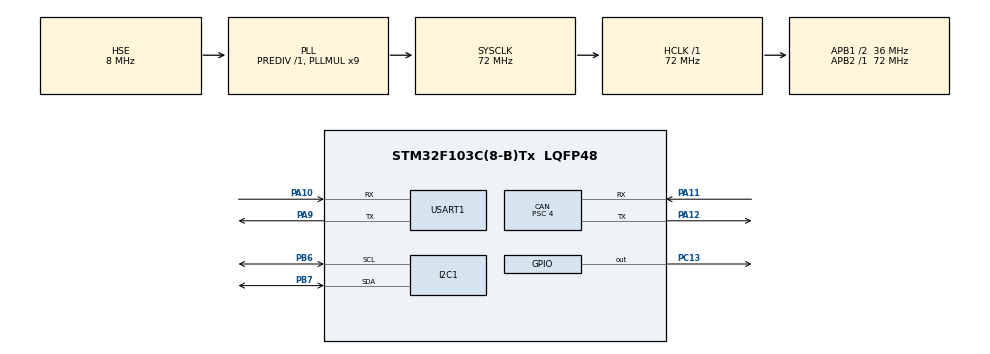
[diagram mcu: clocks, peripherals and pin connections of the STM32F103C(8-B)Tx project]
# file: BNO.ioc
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CAN.BS1=CAN_BS1_15TQ
CAN.BS2=CAN_BS2_2TQ
CAN.CalculateBaudRate=500000
CAN.CalculateTimeBit=2000
CAN.CalculateTimeQuantum=111.11111111111111
CAN.Prescaler=4
FREERTOS.Tasks01=mReadBNO,24,512,ReadBNO,Default,NULL,Dynamic,NULL,NULL;mySend_CAN,8,512,Send_CAN,Default,NULL,Dynamic,NULL,NULL
Mcu.Family=STM32F1
Mcu.Name=STM32F103C(8-B)Tx
Mcu.Package=LQFP48
NVIC.PriorityGroup=NVIC_PRIORITYGROUP_4
NVIC.TIM3_IRQn=true\:15\:0\:false\:false\:true\:false\:false\:true\:true
NVIC.TimeBase=TIM3_IRQn
NVIC.TimeBaseIP=TIM3
NVIC.USB_HP_CAN1_TX_IRQn=true\:5\:0\:true\:false\:true\:true\:true\:true\:true
NVIC.USB_LP_CAN1_RX0_IRQn=true\:5\:0\:false\:false\:true\:true\:true\:true\:true
PA10.Mode=Asynchronous
PA10.Signal=USART1_RX
PA11.Mode=CAN_Activate
PA11.Signal=CAN_RX
PA12.Mode=CAN_Activate
PA12.Signal=CAN_TX
PA13.Mode=Serial_Wire
PA13.Signal=SYS_JTMS-SWDIO
PA14.Mode=Serial_Wire
PA14.Signal=SYS_JTCK-SWCLK
PA9.Mode=Asynchronous
PA9.Signal=USART1_TX
PB6.Mode=I2C
PB6.Signal=I2C1_SCL
PB7.Mode=I2C
PB7.Signal=I2C1_SDA
PC13-TAMPER-RTC.Signal=GPIO_Output
PD0-OSC_IN.Mode=HSE-External-Oscillator
PD0-OSC_IN.Signal=RCC_OSC_IN
PD1-OSC_OUT.Mode=HSE-External-Oscillator
PD1-OSC_OUT.Signal=RCC_OSC_OUT
ProjectManager.HeapSize=0x200
ProjectManager.StackSize=0x400
ProjectManager.TargetToolchain=STM32CubeIDE
RCC.AHBFreq_Value=72000000
RCC.APB1CLKDivider=RCC_HCLK_DIV2
RCC.APB1Freq_Value=36000000
RCC.APB1TimFreq_Value=72000000
RCC.APB2Freq_Value=72000000
RCC.APB2TimFreq_Value=72000000
RCC.HCLKFreq_Value=72000000
RCC.PLLMUL=RCC_PLL_MUL9
RCC.PLLSourceVirtual=RCC_PLLSOURCE_HSE
RCC.SYSCLKFreq_VALUE=72000000
RCC.SYSCLKSource=RCC_SYSCLKSOURCE_PLLCLK
RCC.USBFreq_Value=72000000
USART1.VirtualMode=VM_ASYNC
VP_FREERTOS_VS_CMSIS_V2.Mode=CMSIS_V2
VP_SYS_VS_tim3.Mode=TIM3
board=custom

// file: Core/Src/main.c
/* USER CODE BEGIN Header */
/**
 ******************************************************************************
 * @file           : main.c
 * @brief          : Main program body
 ******************************************************************************
 * @attention
 *
 * Copyright (c) 2023 STMicroelectronics.
 * All rights reserved.
 *
 * This software is licensed under terms that can be found in the LICENSE file
 * in the root directory of this software component.
 * If no LICENSE file comes with this software, it is provided AS-IS.
 *
 ******************************************************************************
 */
/* USER CODE END Header */
#include "main.h"
#include "cmsis_os.h"
#include "can.h"
#include "i2c.h"
#include "usart.h"
#include "gpio.h"

/* USER CODE BEGIN Includes */
//#include "bno055.h"
//#include "bno_config.h"
#include <stdio.h>
#include "CAN_Handle.h"
//#include "ssd1306.h"
//#include "fonts.h"
//#include "test.h"
//#include "Calib.h"
//#include "LKF.h"
/* USER CODE END Includes */

/* USER CODE BEGIN PV */
//bno055_t bno;
//error_bno err;
//EulerCalib Eulcalib;
//AccCalib AcceCalib;
//LKF KF;
/* USER CODE END PV */

void SystemClock_Config(void);
void MX_FREERTOS_Init(void);

int main(void)
{

  /* MCU Configuration--------------------------------------------------------*/

  /* Reset of all peripherals, Initializes the Flash interface and the Systick. */
  HAL_Init();

  /* Configure the system clock */
  SystemClock_Config();

  /* Initialize all configured peripherals */
  MX_GPIO_Init();
  MX_I2C1_Init();
  MX_USART1_UART_Init();
  MX_CAN_Init();
  /* USER CODE BEGIN 2 */
  CAN_Config_filtering();
  if(HAL_CAN_ActivateNotification(&hcan, CAN_IT_TX_MAILBOX_EMPTY|CAN_IT_RX_FIFO0_MSG_PENDING)!=HAL_OK){
  	 printf("Start CAN IT Error");
   }
    if(HAL_CAN_Start(&hcan)!=HAL_OK){
  	 printf("Start CAN Error");
   }
	//SSD1306_Init();
//	bno = (bno055_t ) { .i2c = &hi2c1, .addr = BNO_ADDR, .mode = BNO_MODE_IMU,
//					._temp_unit = 0,
//			// .ptr = &bno,
//			};
//	HAL_Delay(1000);
//	if ((err = bno055_init(&bno)) == BNO_OK) {
//		printf("[+] BNO055 init success\r\n");
//		HAL_Delay(100);
//	} else {
//		printf("[!] BNO055 init failed\r\n");
//		printf("%s\n", bno055_err_str(err));
//		Error_Handler();
//	}
//	HAL_Delay(100);
//	err = bno055_set_unit(&bno, BNO_TEMP_UNIT_C, BNO_GYR_UNIT_DPS,
//			BNO_ACC_UNITSEL_M_S2, BNO_EUL_UNIT_DEG);
//	if (err != BNO_OK) {
//		printf("[BNO] Failed to set units. Err: %d\r\n", err);
//	} else {
//		printf("[BNO] Unit selection success\r\n");
//	}
//
//	HAL_Delay(1000);
	// f32 acc_x = 0.0f, acc_y = 0.0f, acc_z = 0.0f;
//	bno055_vec3_t acc = { 0, 0, 0 };
//	bno055_vec3_t lia = { 0, 0, 0 };
//	bno055_vec3_t gyr = { 0, 0, 0 };
//	bno055_vec3_t mag = { 0, 0, 0 };
//	bno055_vec3_t grv = { 0, 0, 0 };
//	bno055_euler_t eul = { 0, 0, 0 };
//	bno055_vec4_t qua = { 0, 0, 0 };
  /* USER CODE END 2 */

  /* Init scheduler */
  osKernelInitialize();

  /* Call init function for freertos objects (in freertos.c) */
  MX_FREERTOS_Init();

  /* Start scheduler */
  osKernelStart();

  /* We should never get here as control is now taken by the scheduler */
  /* Infinite loop */
  /* USER CODE BEGIN WHILE */
//Euler_Calibration(&bno, &eul, &Eulcalib);
//ACC_Calibration(&bno, &acc, &AcceCalib);
	while (1) {
    /* USER CODE END WHILE */

    /* USER CODE BEGIN 3 */
//			bno.temperature(&bno, &temperature);
//			bno.acc(&bno, &acc);
//			bno.linear_acc(&bno, &lia);
//			bno.mag(&bno, &mag);
//			bno.gyro(&bno, &gyr);
//			bno.gravity(&bno, &grv);
//			bno.quaternion(&bno, &qua);
//		        printf("[+] Temperature: %2d°C\r\n", temperature);
//		ACC_getData(&acc, &bno, &AcceCalib);
//		Euler_getData(&eul, &bno, &Eulcalib);
//		printf("Y %+2.2f\r\n",eul.yaw);
//		        printf("[+] LIA - x: %+2.2f | y: %+2.2f | z: %+2.2f\r\n", lia.x, lia.y,
//		               lia.z);
//		        printf("[+] GYR - x: %+2.2f | y: %+2.2f | z: %+2.2f\r\n", gyr.x, gyr.y,
//		               gyr.z);
//		        printf("[+] MAG - x: %+2.2f | y: %+2.2f | z: %+2.2f\r\n", mag.x, mag.y,
//		               mag.z);
//		        printf("[+] GRV - x: %+2.2f | y: %+2.2f | z: %+2.2f\r\n", grv.x, grv.y,
//		               grv.z);
//				Euler_getData(&eul, &bno, &Eulcalib);
//		        printf("[+] Roll: %+2.2f | Pitch: %+2.2f | Yaw: %+2.2f\r\n", eul.roll,
//		        		eul.pitch,eul.yaw);
//		        printf("[+] QUA - w: %+2.2f | x: %+2.2f | y: %+2.2f | z: %+2.2f\r\n",
//		               qua.w, qua.x, qua.y, qua.z);
//		snprintf(buffer, sizeof(buffer), "%s%2d°C", "Temperature:", temperature);
//		 printf("[+] Temperature: %2d°C\r\n", temperature);
//		        printf("[+] ACC - x: %+2.2f | y: %+2.2f | z: %+2.2f\r\n", acc.x, acc.y,
//		               acc.z);
//		        printf("[+] LIA - x: %+2.2f | y: %+2.2f | z: %+2.2f\r\n", lia.x, lia.y,
//		               lia.z);
//		        printf("[+] GYR - x: %+2.2f | y: %+2.2f | z: %+2.2f\r\n", gyr.x, gyr.y,
//		               gyr.z);
//		        printf("[+] MAG - x: %+2.2f | y: %+2.2f | z: %+2.2f\r\n", mag.x, mag.y,
//		               mag.z);
//		        printf("[+] GRV - x: %+2.2f | y: %+2.2f | z: %+2.2f\r\n", grv.x, grv.y,
//		               grv.z);
//		        printf("[+] QUA - w: %+2.2f | x: %+2.2f | y: %+2.2f | z: %+2.2f\r\n",
//		               qua.w, qua.x, qua.y, qua.z);
//		SSD1306_GotoXY(5, 40);
//		SSD1306_Puts(buffer, &Font_7x10, 1);
//		printf("[+] ACC - x: %+2.2f | y: %+2.2f | z: %+2.2f\r\n", acc.x, acc.y,
//				acc.z);
//		printf("[+] LIA - x: %+2.2f | y: %+2.2f | z: %+2.2f\r\n", lia.x, lia.y,
//				lia.z);
//		printf("[+] GYR - x: %+2.2f | y: %+2.2f | z: %+2.2f\r\n", gyr.x, gyr.y,
//				gyr.z);
//		printf("[+] MAG - x: %+2.2f | y: %+2.2f | z: %+2.2f\r\n", mag.x, mag.y,
//				mag.z);
//		printf("[+] GRV - x: %+2.2f | y: %+2.2f | z: %+2.2f\r\n", grv.x, grv.y,
//				grv.z);
//		snprintf(buffer, sizeof(buffer), "%s%+2.2f", "R ", eul.roll);
//		SSD1306_GotoXY(5, 4);
//		SSD1306_Puts(buffer, &Font_7x10, 1);
//		snprintf(buffer, sizeof(buffer), "%s%+2.2f", "Y ", eul.yaw);
//		SSD1306_GotoXY(5, 16);
//		SSD1306_Puts(buffer, &Font_7x10, 1);
//		snprintf(buffer, sizeof(buffer), "%s%+2.2f", "Pitch:", eul.pitch);
//		SSD1306_GotoXY(5, 26);
//		SSD1306_Puts(buffer, &Font_7x10, 1);
//		SSD1306_UpdateScreen(); // update screen
//		printf("[+] QUA - w: %+2.2f | x: %+2.2f | y: %+2.2f | z: %+2.2f\r\n",
//				qua.w, qua.x, qua.y, qua.z);
//		HAL_GPIO_TogglePin(GPIOC, GPIO_PIN_13);
//		HAL_Delay(100);
	}
  /* USER CODE END 3 */
}

void SystemClock_Config(void)
{
  RCC_OscInitTypeDef RCC_OscInitStruct = {0};
  RCC_ClkInitTypeDef RCC_ClkInitStruct = {0};

  /** Initializes the RCC Oscillators according to the specified parameters
  * in the RCC_OscInitTypeDef structure.
  */
  RCC_OscInitStruct.OscillatorType = RCC_OSCILLATORTYPE_HSE;
  RCC_OscInitStruct.HSEState = RCC_HSE_ON;
  RCC_OscInitStruct.HSEPredivValue = RCC_HSE_PREDIV_DIV1;
  RCC_OscInitStruct.HSIState = RCC_HSI_ON;
  RCC_OscInitStruct.PLL.PLLState = RCC_PLL_ON;
  RCC_OscInitStruct.PLL.PLLSource = RCC_PLLSOURCE_HSE;
  RCC_OscInitStruct.PLL.PLLMUL = RCC_PLL_MUL9;
  if (HAL_RCC_OscConfig(&RCC_OscInitStruct) != HAL_OK)
  {
    Error_Handler();
  }

  /** Initializes the CPU, AHB and APB buses clocks
  */
  RCC_ClkInitStruct.ClockType = RCC_CLOCKTYPE_HCLK|RCC_CLOCKTYPE_SYSCLK
                              |RCC_CLOCKTYPE_PCLK1|RCC_CLOCKTYPE_PCLK2;
  RCC_ClkInitStruct.SYSCLKSource = RCC_SYSCLKSOURCE_PLLCLK;
  RCC_ClkInitStruct.AHBCLKDivider = RCC_SYSCLK_DIV1;
  RCC_ClkInitStruct.APB1CLKDivider = RCC_HCLK_DIV2;
  RCC_ClkInitStruct.APB2CLKDivider = RCC_HCLK_DIV1;

  if (HAL_RCC_ClockConfig(&RCC_ClkInitStruct, FLASH_LATENCY_2) != HAL_OK)
  {
    Error_Handler();
  }
}

void HAL_TIM_PeriodElapsedCallback(TIM_HandleTypeDef *htim)
{
  if (htim->Instance == TIM3) {
    HAL_IncTick();
  }
}

void Error_Handler(void)
{
	__disable_irq();
	while (1) {
	}
}

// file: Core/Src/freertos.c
/* USER CODE BEGIN Header */
/**
  ******************************************************************************
  * File Name          : freertos.c
  * Description        : Code for freertos applications
  ******************************************************************************
  * @attention
  *
  * Copyright (c) 2023 STMicroelectronics.
  * All rights reserved.
  *
  * This software is licensed under terms that can be found in the LICENSE file
  * in the root directory of this software component.
  * If no LICENSE file comes with this software, it is provided AS-IS.
  *
  ******************************************************************************
  */
/* USER CODE END Header */

#include "FreeRTOS.h"
#include "task.h"
#include "main.h"
#include "cmsis_os.h"

/* USER CODE BEGIN Includes */
#include "bno055.h"
#include "bno_config.h"
#include <stdio.h>
#include "Calib.h"
#include "i2c.h"
#include "usart.h"
#include "CAN_Handle.h"
/* USER CODE END Includes */

/* USER CODE BEGIN Variables */
	bno055_euler_t eul = { 0, 0, 0 };
	bno055_t bno;
	error_bno err;
	EulerCalib Eulcalib;
	AccCalib AcceCalib;
/* USER CODE END Variables */
/* Definitions for mReadBNO */
osThreadId_t mReadBNOHandle;
const osThreadAttr_t mReadBNO_attributes = {
  .name = "mReadBNO",
  .stack_size = 512 * 4,
  .priority = (osPriority_t) osPriorityNormal,
};
/* Definitions for mySend_CAN */
osThreadId_t mySend_CANHandle;
const osThreadAttr_t mySend_CAN_attributes = {
  .name = "mySend_CAN",
  .stack_size = 512 * 4,
  .priority = (osPriority_t) osPriorityLow,
};

void ReadBNO(void *argument);
void Send_CAN(void *argument);

void MX_FREERTOS_Init(void); /* (MISRA C 2004 rule 8.1) */

void MX_FREERTOS_Init(void) {
  /* USER CODE BEGIN Init */
	bno = (bno055_t ) { .i2c = &hi2c1, .addr = BNO_ADDR, .mode = BNO_MODE_IMU,
								._temp_unit = 0,
						// .ptr = &bno,
						};
		if ((err = bno055_init(&bno)) == BNO_OK) {
			printf("BNO055 success\r\n");
			osDelay (100);
		} else {
			printf("[!] BNO055 failed\r\n");
			printf("%s\n", bno055_err_str(err));
			Error_Handler();
		}
		err = bno055_set_unit(&bno, BNO_TEMP_UNIT_C, BNO_GYR_UNIT_DPS,
				BNO_ACC_UNITSEL_M_S2, BNO_EUL_UNIT_DEG);
		if (err != BNO_OK) {
			printf("[BNO] Failed to set units. Err: %d\r\n", err);
		} else {
			printf("[BNO] Unit selection success\r\n");
		}
		osDelay (100);
		Euler_Calibration(&bno, &eul, &Eulcalib);
  /* USER CODE END Init */

  /* Create the thread(s) */
  /* creation of mReadBNO */
  mReadBNOHandle = osThreadNew(ReadBNO, NULL, &mReadBNO_attributes);

  /* creation of mySend_CAN */
  mySend_CANHandle = osThreadNew(Send_CAN, NULL, &mySend_CAN_attributes);

}

void ReadBNO(void *argument)
{
  /* USER CODE BEGIN ReadBNO */
  /* Infinite loop */
  for(;;)
  {
			Euler_getData(&eul, &bno, &Eulcalib);
			printf("Y %+2.2f\r\n",eul.yaw);
			HAL_GPIO_TogglePin(GPIOC, GPIO_PIN_13);
			osDelay(1);
  }
  /* USER CODE END ReadBNO */
}

void Send_CAN(void *argument)
{
  /* USER CODE BEGIN Send_CAN */
	uint32_t ID =0x65;
	uint8_t Data[8]={1,2,3,4,5,6,7,8};
	uint8_t size =0;
  /* Infinite loop */
  for(;;)
  {
	CAN_HandleSenđata(ID,Data,size);
    osDelay(50);
  }
  /* USER CODE END Send_CAN */
}
